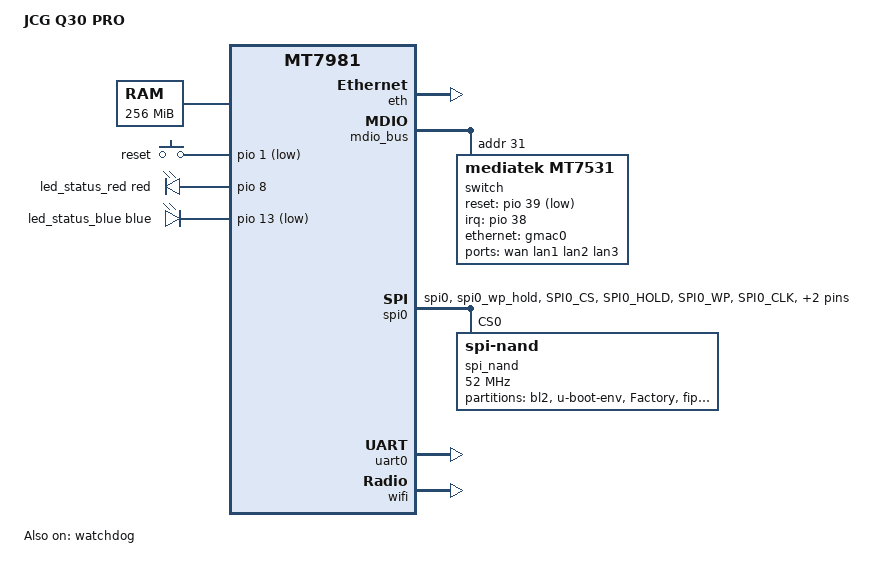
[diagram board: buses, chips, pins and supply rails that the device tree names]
// SPDX-License-Identifier: GPL-2.0-or-later OR MIT

/dts-v1/;
#include <dt-bindings/gpio/gpio.h>
#include <dt-bindings/input/input.h>
#include <dt-bindings/leds/common.h>
#include <dt-bindings/pinctrl/mt65xx.h>

#include "mt7981b.dtsi"

/ {
	model = "JCG Q30 PRO";
	compatible = "jcg,q30-pro", "mediatek,mt7981";

	aliases {
		serial0 = &uart0;
		label-mac-device = &gmac0;
		led-boot = &led_status_red;
		led-failsafe = &led_status_red;
		led-running = &led_status_blue;
		led-upgrade = &led_status_blue;
	};

	chosen {
		bootargs-append = " root=/dev/fit0 rootwait";
		rootdisk = <&ubi_rootdisk>;
		stdout-path = "serial0:115200n8";
	};

	memory@40000000 {
		reg = <0 0x40000000 0 0x10000000>;
		device_type = "memory";
	};

	gpio-keys {
		compatible = "gpio-keys";

		reset {
			label = "reset";
			linux,code = <KEY_RESTART>;
			gpios = <&pio 1 GPIO_ACTIVE_LOW>;
		};
	};

	leds {
		compatible = "gpio-leds";

		led_status_red: red {
			function = LED_FUNCTION_STATUS;
			color = <LED_COLOR_ID_RED>;
			gpios = <&pio 8 GPIO_ACTIVE_HIGH>;
		};

		led_status_blue: blue {
			function = LED_FUNCTION_STATUS;
			color = <LED_COLOR_ID_BLUE>;
			gpios = <&pio 13 GPIO_ACTIVE_LOW>;
		};
	};
};

&eth {
	status = "okay";

	gmac0: mac@0 {
		compatible = "mediatek,eth-mac";
		reg = <0>;
		phy-mode = "2500base-x";

		nvmem-cells = <&macaddr_lan>;
		nvmem-cell-names = "mac-address";

		fixed-link {
			speed = <2500>;
			full-duplex;
			pause;
		};
	};
};

&mdio_bus {
	switch: switch@1f {
		compatible = "mediatek,mt7531";
		reg = <31>;
		reset-gpios = <&pio 39 GPIO_ACTIVE_LOW>;
		interrupt-controller;
		#interrupt-cells = <1>;
		interrupt-parent = <&pio>;
		interrupts = <38 IRQ_TYPE_LEVEL_HIGH>;
	};
};

&spi0 {
	pinctrl-names = "default";
	pinctrl-0 = <&spi0_flash_pins>;
	status = "okay";

	spi_nand@0 {
		compatible = "spi-nand";
		#address-cells = <1>;
		#size-cells = <1>;
		reg = <0>;

		spi-max-frequency = <52000000>;
		spi-tx-bus-width = <4>;
		spi-rx-bus-width = <4>;

		partitions {
			compatible = "fixed-partitions";
			#address-cells = <1>;
			#size-cells = <1>;

			partition@0 {
				label = "bl2";
				reg = <0x0000000 0x0100000>;
				read-only;
			};

			partition@100000 {
				label = "u-boot-env";
				reg = <0x0100000 0x0080000>;
			};

			factory: partition@180000 {
				label = "Factory";
				reg = <0x0180000 0x0200000>;
				read-only;

				nvmem-layout {
					compatible = "fixed-layout";
					#address-cells = <1>;
					#size-cells = <1>;

					macaddr_wan: macaddr@a0024 {
						reg = <0xa0024 0x6>;
					};

					macaddr_lan: macaddr@a002a {
						reg = <0xa002a 0x6>;
					};
				};
			};

			partition@380000 {
				label = "fip";
				reg = <0x0380000 0x0200000>;
				read-only;
			};

			partition@580000 {
				label = "ubi";
				reg = <0x0580000 0x7000000>;
				compatible = "linux,ubi";

				volumes {
					ubi_rootdisk: ubi-volume-fit {
						volname = "fit";
					};
				};
			};
		};
	};
};

&switch {
	ports {
		#address-cells = <1>;
		#size-cells = <0>;

		port@0 {
			reg = <0>;
			label = "wan";
			nvmem-cells = <&macaddr_wan>;
			nvmem-cell-names = "mac-address";
		};

		port@1 {
			reg = <1>;
			label = "lan1";
		};

		port@2 {
			reg = <2>;
			label = "lan2";
		};

		port@3 {
			reg = <3>;
			label = "lan3";
		};

		port@6 {
			reg = <6>;
			ethernet = <&gmac0>;
			phy-mode = "2500base-x";

			fixed-link {
				speed = <2500>;
				full-duplex;
				pause;
			};
		};
	};
};

&pio {
	spi0_flash_pins: spi0-pins {
		mux {
			function = "spi";
			groups = "spi0", "spi0_wp_hold";
		};

		conf-pu {
			pins = "SPI0_CS", "SPI0_HOLD", "SPI0_WP";
			drive-strength = <MTK_DRIVE_8mA>;
			bias-disable; /* bias-disable */
		};

		conf-pd {
			pins = "SPI0_CLK", "SPI0_MOSI", "SPI0_MISO";
			drive-strength = <MTK_DRIVE_8mA>;
			bias-disable; /* bias-disable */
		};
	};
};

&uart0 {
	status = "okay";
};

&watchdog {
	status = "okay";
};

&wifi {
	status = "okay";

	mediatek,mtd-eeprom = <&factory 0x0>;
};
